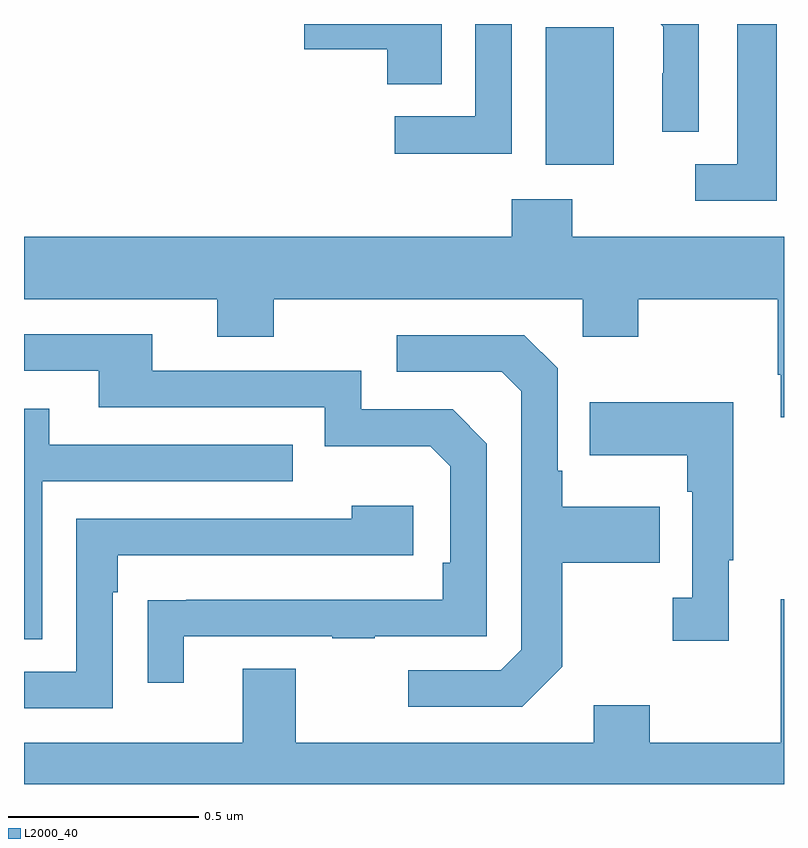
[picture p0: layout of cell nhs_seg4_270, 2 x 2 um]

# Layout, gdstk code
import gdstk
lib = gdstk.Library(unit=1e-6, precision=1e-09)
def R(c, l, rs):  # rectangles x0, y0, x1, y1
    for r in rs: c.add(gdstk.rectangle(r[:2], r[2:], *l))
def P(c, l, *ps):  # polygons
    for p in ps: c.add(gdstk.Polygon(p, *l))
L2000_40 = (2000, 40)

nhs_seg4_270 = lib.new_cell('nhs_seg4_270')
R(nhs_seg4_270, L2000_40, [(115.373,774.53,115.552,774.891)])
P(nhs_seg4_270, L2000_40, [(115.099,774.9),(114.738,774.9),(114.738,774.833),(114.956,774.833),(114.956,774.742),(115.099,774.742)],
  [(115.981,774.9),(115.877,774.9),(115.877,774.531),(115.767,774.531),(115.767,774.435),(115.981,774.435)],
  [(115.284,774.9),(115.188,774.9),(115.188,774.657),(114.975,774.657),(114.975,774.559),(115.284,774.559)],
  [(115.776,774.9),(115.675,774.9),(115.682,774.893),(115.682,774.77),(115.68,774.77),(115.68,774.616),(115.776,774.616)],
  [(116,774.34),(115.443,774.34),(115.443,774.439),(115.283,774.439),(115.283,774.34),(114,774.34),(114,774.176),(114.509,774.176),(114.509,774.077),(114.657,774.077),(114.657,774.176),(115.47,774.176),(115.47,774.077),(115.617,774.077),(115.617,774.176),(115.984,774.176),(115.984,773.977),(115.991,773.977),(115.991,773.865),(116,773.865)],
  [(114.421,773.289),(114.811,773.289),(114.811,773.284),(114.923,773.284),(114.923,773.289),(115.218,773.289),(115.218,773.796),(115.128,773.886),(114.888,773.886),(114.888,773.988),(114.337,773.988),(114.337,774.084),(114,774.084),(114,773.988),(114.197,773.988),(114.197,773.892),(114.792,773.892),(114.792,773.789),(115.069,773.789),(115.122,773.736),(115.122,773.482),(115.102,773.482),(115.102,773.385),(114.427,773.385),(114.427,773.384),(114.325,773.384),(114.325,773.166),(114.421,773.166)],
  [(115.417,773.209),(115.417,773.482),(115.673,773.482),(115.673,773.629),(115.417,773.629),(115.417,773.725),(115.404,773.725),(115.404,773.994),(115.317,774.081),(114.981,774.081),(114.981,773.985),(115.257,773.985),(115.308,773.934),(115.308,773.253),(115.254,773.199),(115.011,773.199),(115.011,773.103),(115.311,773.103)],
  [(115.855,773.489),(115.867,773.489),(115.867,773.905),(115.489,773.905),(115.489,773.765),(115.746,773.765),(115.746,773.669),(115.758,773.669),(115.758,773.39),(115.707,773.39),(115.707,773.277),(115.855,773.277)],
  [(114.048,773.697),(114.707,773.697),(114.707,773.793),(114.067,773.793),(114.067,773.887),(114,773.887),(114,773.281),(114.048,773.281)],
  [(114.234,773.405),(114.247,773.405),(114.247,773.502),(115.024,773.502),(115.024,773.632),(114.863,773.632),(114.863,773.598),(114.138,773.598),(114.138,773.196),(114,773.196),(114,773.1),(114.234,773.1)],
  [(116,773.386),(115.991,773.386),(115.991,773.008),(115.647,773.008),(115.647,773.107),(115.499,773.107),(115.499,773.008),(114.715,773.008),(114.715,773.203),(114.575,773.203),(114.575,773.008),(114,773.008),(114,772.9),(116,772.9)])

lib.write_gds('nhs_seg4_270.gds')
